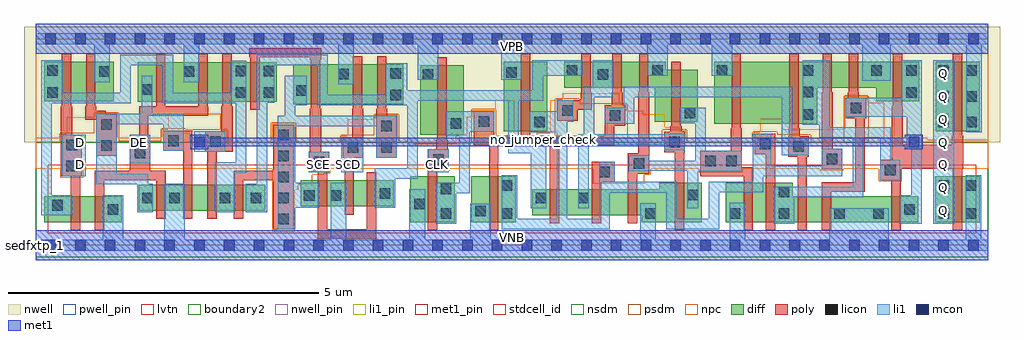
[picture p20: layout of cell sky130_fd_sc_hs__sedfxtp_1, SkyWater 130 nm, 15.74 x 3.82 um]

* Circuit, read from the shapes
.subckt sky130_fd_sc_hs__sedfxtp_1 CLK D DE Q SCD SCE VGND VNB VPB VPWR
XM1 n1 D n2 VNB sky130_fd_pr__nfet_01v8_lvt w=0.42 l=0.15
XM2 VGND DE n1 VNB sky130_fd_pr__nfet_01v8_lvt w=0.42 l=0.15
XM3 VGND DE n3 VNB sky130_fd_pr__nfet_01v8_lvt w=0.42 l=0.15
XM4 n4 n3 VGND VNB sky130_fd_pr__nfet_01v8_lvt w=0.42 l=0.15
XM5 n2 n5 n4 VNB sky130_fd_pr__nfet_01v8_lvt w=0.42 l=0.15
XM6 n6 n7 n2 VNB sky130_fd_pr__nfet_01v8_lvt w=0.42 l=0.15
XM7 VGND SCE n7 VNB sky130_fd_pr__nfet_01v8_lvt w=0.42 l=0.15
XM8 n8 SCD VGND VNB sky130_fd_pr__nfet_01v8_lvt w=0.42 l=0.15
XM9 n6 SCE n8 VNB sky130_fd_pr__nfet_01v8_lvt w=0.42 l=0.15
XM10 n9 CLK VGND VNB sky130_fd_pr__nfet_01v8_lvt w=0.74 l=0.15
XM11 n10 n9 VGND VNB sky130_fd_pr__nfet_01v8_lvt w=0.74 l=0.15
XM12 n11 n9 n6 VNB sky130_fd_pr__nfet_01v8_lvt w=0.42 l=0.15
XM13 n12 n10 n11 VNB sky130_fd_pr__nfet_01v8_lvt w=0.42 l=0.15
XM14 VGND n13 n12 VNB sky130_fd_pr__nfet_01v8_lvt w=0.42 l=0.15
XM15 n13 n11 VGND VNB sky130_fd_pr__nfet_01v8_lvt w=0.64 l=0.15
XM16 n14 n13 VGND VNB sky130_fd_pr__nfet_01v8_lvt w=0.64 l=0.15
XM17 n15 n10 n14 VNB sky130_fd_pr__nfet_01v8_lvt w=0.64 l=0.15
XM18 n16 n9 n15 VNB sky130_fd_pr__nfet_01v8_lvt w=0.42 l=0.15
XM19 VGND n5 n16 VNB sky130_fd_pr__nfet_01v8_lvt w=0.42 l=0.15
XM20 n5 n15 VGND VNB sky130_fd_pr__nfet_01v8_lvt w=0.42 l=0.15
XM21 VGND n15 Q VNB sky130_fd_pr__nfet_01v8_lvt w=0.74 l=0.15
XM22 n17 D n2 VPB sky130_fd_pr__pfet_01v8 w=0.64 l=0.15
XM23 VPWR n3 n17 VPB sky130_fd_pr__pfet_01v8 w=0.64 l=0.15
XM24 VPWR DE n3 VPB sky130_fd_pr__pfet_01v8 w=0.64 l=0.15
XM25 n18 DE VPWR VPB sky130_fd_pr__pfet_01v8 w=0.64 l=0.15
XM26 n2 n5 n18 VPB sky130_fd_pr__pfet_01v8 w=0.64 l=0.15
XM27 n6 SCE n2 VPB sky130_fd_pr__pfet_01v8 w=0.64 l=0.15
XM28 VPWR SCE n7 VPB sky130_fd_pr__pfet_01v8 w=0.64 l=0.15
XM29 n19 SCD VPWR VPB sky130_fd_pr__pfet_01v8 w=0.64 l=0.15
XM30 n6 n7 n19 VPB sky130_fd_pr__pfet_01v8 w=0.64 l=0.15
XM31 n9 CLK VPWR VPB sky130_fd_pr__pfet_01v8 w=1.12 l=0.15
XM32 n10 n9 VPWR VPB sky130_fd_pr__pfet_01v8 w=1.12 l=0.15
XM33 n11 n10 n6 VPB sky130_fd_pr__pfet_01v8 w=0.42 l=0.15
XM34 n20 n9 n11 VPB sky130_fd_pr__pfet_01v8 w=0.42 l=0.15
XM35 VPWR n13 n20 VPB sky130_fd_pr__pfet_01v8 w=0.42 l=0.15
XM36 n13 n11 VPWR VPB sky130_fd_pr__pfet_01v8 w=0.84 l=0.15
XM37 n21 n13 VPWR VPB sky130_fd_pr__pfet_01v8 w=1 l=0.15
XM38 n15 n9 n21 VPB sky130_fd_pr__pfet_01v8 w=1 l=0.15
XM39 n22 n10 n15 VPB sky130_fd_pr__pfet_01v8 w=0.42 l=0.15
XM40 VPWR n5 n22 VPB sky130_fd_pr__pfet_01v8 w=0.42 l=0.15
XM41 n5 n15 VPWR VPB sky130_fd_pr__pfet_01v8 w=0.64 l=0.15
XM42 VPWR n15 Q VPB sky130_fd_pr__pfet_01v8 w=1.12 l=0.15
.ends

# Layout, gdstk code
import gdstk
lib = gdstk.Library(unit=1e-6, precision=1e-09)
def R(c, l, rs):  # rectangles x0, y0, x1, y1
    for r in rs: c.add(gdstk.rectangle(r[:2], r[2:], *l))
def A(c, l, x, y, w, h, nx, ny, dx, dy):  # array of equal rectangles
    R(c, l, [(x+i*dx, y+j*dy, x+i*dx+w, y+j*dy+h) for i in range(nx) for j in range(ny)])
def P(c, l, *ps):  # polygons
    for p in ps: c.add(gdstk.Polygon(p, *l))
nwell_pin = (64, 16)
nwell = (64, 20)
diff = (65, 20)
poly = (66, 20)
licon = (66, 44)
li1_pin = (67, 16)
li1 = (67, 20)
mcon = (67, 44)
met1_pin = (68, 16)
met1 = (68, 20)
stdcell_id = (81, 4)
nsdm = (93, 44)
psdm = (94, 20)
npc = (95, 20)
pwell_pin = (122, 16)
lvtn = (125, 44)
boundary2 = (236, 0)

sky130_fd_sc_hs__sedfxtp = lib.new_cell('sky130_fd_sc_hs__sedfxtp_1')
R(sky130_fd_sc_hs__sedfxtp, nwell_pin, [(0,3.085,15.36,3.33)])
P(sky130_fd_sc_hs__sedfxtp, nwell, [(15.55,3.52),(-0.19,3.52),(-0.19,1.66),(6.02,1.66),(6.02,1.6),(7.08,1.6),(7.08,1.66),(15.55,1.66)])
R(sky130_fd_sc_hs__sedfxtp, diff, [(0.135,0.37,1.39,0.79), (6.04,0.37,6.755,1.11), (7.025,0.37,7.74,1.11), (14.505,0.37,15.225,1.11), (1.66,0.555,3.7,0.975), (4.27,0.625,5.77,1.045), (6.2,1.78,6.9,2.9), (7.55,1.84,8.25,2.96), (14.515,1.84,15.225,2.96), (4.155,2.275,5.93,2.915), (1.645,2.315,3.885,2.955), (0.135,2.32,1.255,2.96)])
P(sky130_fd_sc_hs__sedfxtp, diff, [(10.675,2.83),(10.16,2.83),(10.16,2.96),(8.52,2.96),(8.52,2.54),(9.985,2.54),(9.985,1.99),(10.675,1.99)],
  [(10.74,1.01),(10.055,1.01),(10.055,0.905),(8.01,0.905),(8.01,0.485),(9.775,0.485),(9.775,0.37),(10.74,0.37)],
  [(14.235,0.79),(12.21,0.79),(12.21,1.01),(11.13,1.01),(11.13,0.37),(14.235,0.37)],
  [(14.245,2.96),(10.945,2.96),(10.945,1.96),(12.6,1.96),(12.6,2.54),(13.555,2.54),(13.555,2.32),(14.245,2.32)])
P(sky130_fd_sc_hs__sedfxtp, poly, [(14.955,1.765),(14.94,1.765),(14.94,3.09),(14.79,3.09),(14.79,1.765),(14.775,1.765),(14.775,1.62),(13.985,1.62),(13.985,2.245),(13.97,2.245),(13.97,3.09),(13.82,3.09),(13.82,2.245),(13.805,2.245),(13.805,1.38),(13.615,1.38),(13.615,1.05),(13.8,1.05),(13.8,0.24),(13.95,0.24),(13.95,1.05),(13.955,1.05),(13.955,1.23),(14.79,1.23),(14.79,0.24),(14.94,0.24),(14.94,1.23),(14.955,1.23)],
  [(13.395,2.38),(13.275,2.38),(13.275,2.465),(13.26,2.465),(13.26,3.09),(13.11,3.09),(13.11,2.465),(13.095,2.465),(13.095,2.38),(13.065,2.38),(13.065,2.05),(13.215,2.05),(13.215,1.015),(12.675,1.015),(12.675,0.24),(12.825,0.24),(12.825,0.865),(13.365,0.865),(13.365,2.05),(13.395,2.05)],
  [(13.005,1.555),(12.855,1.555),(12.855,2.465),(12.84,2.465),(12.84,3.09),(12.69,3.09),(12.69,2.465),(12.675,2.465),(12.675,1.225),(13.005,1.225)],
  [(12.465,1.755),(12.32,1.755),(12.32,1.885),(12.305,1.885),(12.305,3.09),(12.155,3.09),(12.155,1.885),(12.14,1.885),(12.14,1.755),(12.135,1.755),(12.135,1.425),(12.285,1.425),(12.285,0.24),(12.435,0.24),(12.435,1.425),(12.465,1.425)],
  [(11.925,1.8),(11.595,1.8),(11.595,1.47),(11.775,1.47),(11.775,0.24),(11.925,0.24)],
  [(11.565,1.26),(11.385,1.26),(11.385,1.885),(11.37,1.885),(11.37,3.09),(11.22,3.09),(11.22,1.885),(11.205,1.885),(11.205,1.525),(10.715,1.525),(10.715,1.11),(11.415,1.11),(11.415,0.24),(11.565,0.24)],
  [(10.465,1.83),(10.415,1.83),(10.415,1.915),(10.4,1.915),(10.4,2.96),(10.25,2.96),(10.25,1.915),(10.235,1.915),(10.235,1.83),(10.135,1.83),(10.135,1.5),(10.305,1.5),(10.305,0.24),(10.455,0.24),(10.455,1.5),(10.465,1.5)],
  [(9.895,2.465),(9.88,2.465),(9.88,3.09),(9.73,3.09),(9.73,2.465),(9.715,2.465),(9.715,1.485),(9.55,1.485),(9.55,0.355),(9.7,0.355),(9.7,1.155),(9.895,1.155)],
  [(9.505,2.255),(9.465,2.255),(9.465,2.465),(9.45,2.465),(9.45,3.09),(9.3,3.09),(9.3,2.465),(9.285,2.465),(9.285,2.255),(9.175,2.255),(9.175,1.765),(7.975,1.765),(7.975,3.09),(7.825,3.09),(7.825,1.765),(7.39,1.765),(7.39,2.16),(7.06,2.16),(7.06,1.615),(7.31,1.615),(7.31,0.24),(7.46,0.24),(7.46,1.615),(8.29,1.615),(8.29,0.355),(8.44,0.355),(8.44,1.615),(9.325,1.615),(9.325,1.925),(9.505,1.925)],
  [(9.34,1.345),(8.97,1.345),(8.97,0.355),(9.12,0.355),(9.12,1.015),(9.34,1.015)],
  [(8.965,2.465),(8.95,2.465),(8.95,3.09),(8.8,3.09),(8.8,2.465),(8.785,2.465),(8.785,2.335),(8.41,2.335),(8.41,2.005),(8.74,2.005),(8.74,2.185),(8.965,2.185)],
  [(6.66,1.55),(6.64,1.55),(6.64,1.705),(6.625,1.705),(6.625,3.03),(6.475,3.03),(6.475,1.705),(6.46,1.705),(6.46,1.55),(6.325,1.55),(6.325,0.24),(6.475,0.24),(6.475,1.22),(6.66,1.22)],
  [(5.82,2.085),(5.67,2.085),(5.67,2.2),(5.655,2.2),(5.655,3.045),(5.505,3.045),(5.505,2.2),(5.49,2.2),(5.49,1.415),(5.82,1.415)],
  [(5.49,1.175),(5.34,1.175),(5.34,0.255),(4.7,0.255),(4.7,1.18),(4.73,1.18),(4.73,1.51),(4.6,1.51),(4.6,2.2),(4.585,2.2),(4.585,2.99),(4.6,2.99),(4.6,3.18),(3.445,3.18),(3.445,3.03),(3.46,3.03),(3.46,2.185),(3.61,2.185),(3.61,3.03),(4.42,3.03),(4.42,2.99),(4.435,2.99),(4.435,2.2),(4.42,2.2),(4.42,1.51),(4.4,1.51),(4.4,1.18),(4.55,1.18),(4.55,0.105),(5.49,0.105)],
  [(5.28,2.2),(5.265,2.2),(5.265,3.045),(5.115,3.045),(5.115,2.2),(5.1,2.2),(5.1,1.745),(4.95,1.745),(4.95,1.415),(4.98,1.415),(4.98,0.495),(5.13,0.495),(5.13,1.415),(5.28,1.415)],
  [(4.16,1.945),(3.83,1.945),(3.83,1.2),(3.195,1.2),(3.195,0.425),(3.345,0.425),(3.345,1.05),(3.83,1.05),(3.83,0.255),(4.16,0.255)],
  [(3.175,2.24),(3.16,2.24),(3.16,3.085),(3.01,3.085),(3.01,2.24),(2.995,2.24),(2.995,1.835),(2.735,1.835),(2.735,1.505),(2.765,1.505),(2.765,0.425),(2.915,0.425),(2.915,1.505),(3.175,1.505)],
  [(2.785,2.24),(2.77,2.24),(2.77,3.085),(2.62,3.085),(2.62,2.24),(2.09,2.24),(2.09,3.085),(1.94,3.085),(1.94,2.24),(1.665,2.24),(1.665,1.65),(1.515,1.65),(1.515,1.2),(0.955,1.2),(0.955,0.24),(1.105,0.24),(1.105,1.05),(1.945,1.05),(1.945,0.425),(2.095,0.425),(2.095,1.2),(1.845,1.2),(1.845,1.65),(1.815,1.65),(1.815,2.09),(2.785,2.09)],
  [(2.525,1.85),(2.055,1.85),(2.055,1.52),(2.375,1.52),(2.375,0.425),(2.525,0.425)],
  [(1.305,2.11),(1.125,2.11),(1.125,2.17),(0.975,2.17),(0.975,2.245),(0.96,2.245),(0.96,3.09),(0.81,3.09),(0.81,2.245),(0.795,2.245),(0.795,2.02),(0.975,2.02),(0.975,1.44),(1.305,1.44)],
  [(0.745,1.78),(0.585,1.78),(0.585,2.245),(0.57,2.245),(0.57,3.09),(0.42,3.09),(0.42,2.245),(0.405,2.245),(0.405,1.11),(0.565,1.11),(0.565,0.24),(0.715,0.24),(0.715,1.11),(0.745,1.11)])
A(sky130_fd_sc_hs__sedfxtp, licon, 3.91, 0.335, 0.17, 0.17, 1, 5, 0, 0.34)
A(sky130_fd_sc_hs__sedfxtp, licon, 14.555, 1.9, 0.17, 0.17, 1, 3, 0, 0.415)
A(sky130_fd_sc_hs__sedfxtp, licon, 15.005, 1.9, 0.17, 0.17, 1, 3, 0, 0.415)
R(sky130_fd_sc_hs__sedfxtp, licon, [(6.53,0.43,6.7,0.6), (7.515,0.43,7.685,0.6), (9.83,0.43,10,0.6), (11.19,0.43,11.36,0.6), (11.98,0.43,12.15,0.6), (12.88,0.43,13.05,0.6), (13.505,0.43,13.675,0.6), (14.565,0.43,14.735,0.6), (14.995,0.43,15.165,0.6), (7.085,0.465,7.255,0.635), (1.16,0.495,1.33,0.665), (14.005,0.495,14.175,0.665), (0.265,0.56,0.435,0.73), (6.1,0.58,6.27,0.75), (8.065,0.675,8.235,0.845), (8.745,0.675,8.915,0.845), (1.72,0.68,1.89,0.85), (2.15,0.68,2.32,0.85), (2.97,0.68,3.14,0.85), (3.47,0.68,3.64,0.85), (4.325,0.72,4.495,0.89), (4.755,0.72,4.925,0.89), (10.51,0.725,10.68,0.895), (5.545,0.75,5.715,0.92), (11.98,0.77,12.15,0.94), (6.53,0.825,6.7,0.995), (7.515,0.88,7.685,1.05), (14.565,0.88,14.735,1.05), (14.995,0.88,15.165,1.05), (9.09,1.095,9.26,1.265), (13.695,1.13,13.865,1.3), (0.495,1.19,0.665,1.36), (9.645,1.235,9.815,1.405), (4.48,1.26,4.65,1.43), (10.795,1.275,10.965,1.445), (11.135,1.275,11.305,1.445), (6.41,1.3,6.58,1.47), (12.755,1.305,12.925,1.475), (1.595,1.4,1.765,1.57), (5.03,1.495,5.2,1.665), (5.57,1.495,5.74,1.665), (12.215,1.505,12.385,1.675), (1.055,1.52,1.225,1.69), (0.495,1.53,0.665,1.7), (11.675,1.55,11.845,1.72), (10.215,1.58,10.385,1.75), (2.815,1.585,2.985,1.755), (2.135,1.6,2.305,1.77), (5.57,1.835,5.74,2.005), (1.055,1.86,1.225,2.03), (6.69,1.875,6.86,2.045), (8.04,1.905,8.21,2.075), (7.14,1.91,7.31,2.08), (9.255,2.005,9.425,2.175), (12.37,2.02,12.54,2.19), (10.465,2.05,10.635,2.22), (8.49,2.085,8.66,2.255), (13.145,2.13,13.315,2.3), (5.72,2.335,5.89,2.505), (3.225,2.375,3.395,2.545), (3.675,2.375,3.845,2.545), (0.185,2.38,0.355,2.55), (14.035,2.38,14.205,2.55), (12.37,2.39,12.54,2.56), (4.2,2.41,4.37,2.58), (1.705,2.43,1.875,2.6), (9.065,2.665,9.235,2.835), (6.24,2.67,6.41,2.84), (4.88,2.68,5.05,2.85), (5.72,2.685,5.89,2.855), (7.59,2.7,7.76,2.87), (2.385,2.715,2.555,2.885), (1.025,2.72,1.195,2.89), (3.225,2.725,3.395,2.895), (3.675,2.725,3.845,2.895), (0.185,2.73,0.355,2.9), (8.565,2.73,8.735,2.9), (9.945,2.73,10.115,2.9), (10.985,2.73,11.155,2.9), (12.37,2.73,12.54,2.9), (13.47,2.73,13.64,2.9), (14.035,2.73,14.205,2.9)])
A(sky130_fd_sc_hs__sedfxtp, li1_pin, 14.555, 0.47, 0.17, 0.17, 1, 7, 0, 0.37)
R(sky130_fd_sc_hs__sedfxtp, li1_pin, [(0.635,1.21,0.805,1.38), (4.475,1.21,4.645,1.38), (4.955,1.21,5.125,1.38), (6.395,1.21,6.565,1.38), (0.635,1.58,0.805,1.75), (1.595,1.58,1.765,1.75)])
R(sky130_fd_sc_hs__sedfxtp, li1, [(14.475,0.35,14.815,2.98), (0.425,1.11,0.805,1.78), (4.4,1.18,4.73,1.51), (4.925,1.18,5.28,1.745), (6.33,1.18,6.66,1.55), (1.515,1.32,1.845,1.78), (2.555,1.505,3.055,1.835)])
P(sky130_fd_sc_hs__sedfxtp, li1, [(0,3.245),(0,3.415),(15.36,3.415),(15.36,3.245),(15.255,3.245),(15.255,1.82),(15.005,1.82),(15.005,3.245),(13.785,3.245),(13.785,2.65),(13.33,2.65),(13.33,3.245),(11.235,3.245),(11.235,2.73),(10.905,2.73),(10.905,3.245),(10.195,3.245),(10.195,2.73),(9.865,2.73),(9.865,3.245),(7.84,3.245),(7.84,2.67),(7.51,2.67),(7.51,3.245),(6.49,3.245),(6.49,2.67),(6.16,2.67),(6.16,3.245),(5.13,3.245),(5.13,2.595),(4.88,2.595),(4.88,3.245),(2.635,3.245),(2.635,2.63),(2.385,2.63),(2.385,3.245),(1.195,3.245),(1.195,2.63),(0.945,2.63),(0.945,3.245)],
  [(0,-0.085),(0,0.085),(1.08,0.085),(1.08,0.81),(1.41,0.81),(1.41,0.085),(2.07,0.085),(2.07,0.995),(2.4,0.995),(2.4,0.085),(4.755,0.085),(4.755,1.01),(5.005,1.01),(5.005,0.085),(6.02,0.085),(6.02,0.905),(6.28,0.905),(6.28,0.085),(7.005,0.085),(7.005,0.67),(7.335,0.67),(7.335,0.085),(9.75,0.085),(9.75,0.68),(10,0.68),(10,0.085),(11.19,0.085),(11.19,0.685),(11.44,0.685),(11.44,0.085),(12.8,0.085),(12.8,0.6),(13.755,0.6),(13.755,0.085),(14.995,0.085),(14.995,1.13),(15.245,1.13),(15.245,0.085),(15.36,0.085),(15.36,-0.085)],
  [(13.925,0.35),(13.925,0.81),(14.115,0.81),(14.115,1.55),(14.045,1.55),(14.045,2.075),(13.065,2.075),(13.065,2.38),(13.955,2.38),(13.955,2.98),(14.285,2.98),(14.285,0.35)],
  [(7.765,0.425),(8.405,0.425),(8.405,1.82),(7.96,1.82),(7.96,2.16),(8.405,2.16),(8.405,2.335),(8.665,2.335),(8.665,1.99),(8.575,1.99),(8.575,0.425),(9.085,0.425),(9.085,1.345),(9.34,1.345),(9.34,1.02),(10.34,1.02),(10.34,0.425),(10.85,0.425),(10.85,1.025),(11.56,1.025),(11.56,1.8),(11.86,1.8),(11.86,1.28),(12.675,1.28),(12.675,1.555),(13.005,1.555),(13.005,1.11),(11.73,1.11),(11.73,0.855),(11.02,0.855),(11.02,0.255),(10.17,0.255),(10.17,0.85),(9.255,0.85),(9.255,0.255),(7.515,0.255),(7.515,1.13),(7.765,1.13)],
  [(7.62,1.48),(7.62,2.33),(6.16,2.33),(6.16,1.075),(5.795,1.075),(5.795,0.605),(5.465,0.605),(5.465,1.245),(5.99,1.245),(5.99,2.255),(4.54,2.255),(4.54,2.905),(3.845,2.905),(3.845,2.295),(3.735,2.295),(3.735,0.535),(3.39,0.535),(3.39,0.995),(3.565,0.995),(3.565,3.075),(4.71,3.075),(4.71,2.425),(5.64,2.425),(5.64,2.935),(5.99,2.935),(5.99,2.5),(8.01,2.5),(8.01,2.98),(8.815,2.98),(8.815,2.73),(8.18,2.73),(8.18,2.33),(7.79,2.33),(7.79,1.65),(8.235,1.65),(8.235,0.595),(7.985,0.595),(7.985,1.48)],
  [(0.085,2.98),(0.435,2.98),(0.435,2.46),(1.365,2.46),(1.365,3.075),(2.215,3.075),(2.215,2.46),(3.145,2.46),(3.145,2.975),(3.395,2.975),(3.395,1.165),(3.22,1.165),(3.22,0.535),(2.89,0.535),(2.89,1.335),(3.225,1.335),(3.225,2.29),(2.045,2.29),(2.045,2.905),(1.535,2.905),(1.535,2.29),(0.255,2.29),(0.255,0.81),(0.59,0.81),(0.59,0.48),(0.085,0.48)],
  [(9.895,1.365),(10.635,1.365),(10.635,1.97),(10.385,1.97),(10.385,2.22),(10.805,2.22),(10.805,1.525),(11.385,1.525),(11.385,1.195),(10.68,1.195),(10.68,0.595),(10.51,0.595),(10.51,1.195),(9.895,1.195),(9.895,1.19),(9.565,1.19),(9.565,1.45),(9.895,1.45)],
  [(6.83,1.01),(6.83,1.76),(6.61,1.76),(6.61,2.16),(7.39,2.16),(7.39,1.83),(7,1.83),(7,0.84),(6.78,0.84),(6.78,0.35),(6.45,0.35),(6.45,1.01)],
  [(13.175,0.94),(13.175,1.735),(12.635,1.735),(12.635,1.94),(12.37,1.94),(12.37,2.98),(12.805,2.98),(12.805,1.905),(13.785,1.905),(13.785,1.38),(13.945,1.38),(13.945,1.05),(13.615,1.05),(13.615,1.735),(13.345,1.735),(13.345,0.77),(12.23,0.77),(12.23,0.35),(11.9,0.35),(11.9,0.94)],
  [(4.185,1.01),(4.575,1.01),(4.575,0.605),(4.185,0.605),(4.185,0.255),(3.905,0.255),(3.905,2.085),(4.015,2.085),(4.015,2.735),(4.37,2.735),(4.37,2.255),(4.185,2.255),(4.185,2.085),(5.82,2.085),(5.82,1.415),(5.49,1.415),(5.49,1.915),(4.185,1.915)],
  [(9.485,2.56),(12.2,2.56),(12.2,1.735),(12.465,1.735),(12.465,1.45),(12.03,1.45),(12.03,2.39),(9.655,2.39),(9.655,1.96),(9.175,1.96),(9.175,2.22),(9.485,2.22)],
  [(2.055,1.95),(1.305,1.95),(1.305,1.15),(1.81,1.15),(1.81,0.995),(1.89,0.995),(1.89,0.535),(1.64,0.535),(1.64,0.98),(0.975,0.98),(0.975,2.12),(1.705,2.12),(1.705,2.735),(1.875,2.735),(1.875,2.12),(2.385,2.12),(2.385,1.52),(2.055,1.52)],
  [(8.745,1.79),(8.835,1.79),(8.835,2.56),(8.985,2.56),(8.985,2.98),(9.315,2.98),(9.315,2.39),(9.005,2.39),(9.005,1.79),(10.135,1.79),(10.135,1.795),(10.465,1.795),(10.465,1.535),(10.135,1.535),(10.135,1.62),(8.915,1.62),(8.915,0.595),(8.745,0.595)])
A(sky130_fd_sc_hs__sedfxtp, mcon, 0.155, -0.085, 0.17, 0.17, 32, 2, 0.48, 3.33)
R(sky130_fd_sc_hs__sedfxtp, mcon, [(2.555,1.58,2.725,1.75), (14.075,1.58,14.245,1.75)])
R(sky130_fd_sc_hs__sedfxtp, met1_pin, [(0,0,15.36,0.245), (0,3.085,15.36,3.33)])
R(sky130_fd_sc_hs__sedfxtp, met1, [(0,-0.245,15.36,0.245), (0,3.085,15.36,3.575)])
P(sky130_fd_sc_hs__sedfxtp, met1, [(2.785,1.735),(14.015,1.735),(14.015,1.78),(14.305,1.78),(14.305,1.55),(14.015,1.55),(14.015,1.595),(2.785,1.595),(2.785,1.55),(2.495,1.55),(2.495,1.78),(2.785,1.78)])
R(sky130_fd_sc_hs__sedfxtp, stdcell_id, [(0,0,15.36,3.33)])
P(sky130_fd_sc_hs__sedfxtp, nsdm, [(15.36,1.66),(7.03,1.66),(7.03,1.65),(6.07,1.65),(6.07,1.66),(0,1.66),(0,-0.19),(15.36,-0.19)])
P(sky130_fd_sc_hs__sedfxtp, psdm, [(15.36,3.52),(0,3.52),(0,1.66),(0.385,1.66),(0.385,1.81),(0.945,1.81),(0.945,2.14),(1.335,2.14),(1.335,1.68),(2.025,1.68),(2.025,1.88),(2.415,1.88),(2.415,1.865),(3.095,1.865),(3.095,1.66),(3.8,1.66),(3.8,1.975),(4.19,1.975),(4.19,1.66),(4.92,1.66),(4.92,1.775),(5.46,1.775),(5.46,2.115),(5.85,2.115),(5.85,1.66),(6.07,1.66),(6.07,1.65),(7.03,1.65),(7.03,2.19),(7.42,2.19),(7.42,1.66),(8.38,1.66),(8.38,2.365),(8.77,2.365),(8.77,2.285),(9.535,2.285),(9.535,1.66),(10.105,1.66),(10.105,1.86),(10.495,1.86),(10.495,1.66),(11.565,1.66),(11.565,1.83),(11.955,1.83),(11.955,1.785),(12.495,1.785),(12.495,1.66),(13.035,1.66),(13.035,2.41),(13.425,2.41),(13.425,1.66),(15.36,1.66)])
P(sky130_fd_sc_hs__sedfxtp, npc, [(15.36,1.7),(14.375,1.7),(14.375,1.73),(13.68,1.73),(13.68,2.295),(13.415,2.295),(13.415,2.4),(13.045,2.4),(13.045,1.87),(12.05,1.87),(12.05,2.04),(11.68,2.04),(11.68,1.82),(11.575,1.82),(11.575,1.73),(10.485,1.73),(10.485,1.85),(10.38,1.85),(10.38,1.9),(10.145,1.9),(10.145,2.115),(9.79,2.115),(9.79,2.17),(9.525,2.17),(9.525,2.275),(9.42,2.275),(9.42,2.45),(8.495,2.45),(8.495,2.355),(8.39,2.355),(8.39,2.34),(8.3,2.34),(8.3,1.815),(8.08,1.815),(8.08,1.75),(7.72,1.75),(7.72,2.34),(7.41,2.34),(7.41,2.18),(7.04,2.18),(7.04,2.075),(6.95,2.075),(6.95,1.785),(6.775,1.785),(6.775,1.64),(6.06,1.64),(6.06,1.73),(5.84,1.73),(5.84,2.105),(5.47,2.105),(5.47,2.03),(5.035,2.03),(5.035,1.765),(4.93,1.765),(4.93,1.73),(4.18,1.73),(4.18,1.965),(3.81,1.965),(3.81,1.73),(3.085,1.73),(3.085,1.855),(2.98,1.855),(2.98,2.12),(2.14,2.12),(2.14,1.87),(2.035,1.87),(2.035,1.73),(1.325,1.73),(1.325,2.13),(0.955,2.13),(0.955,2.065),(0.5,2.065),(0.5,1.8),(0.395,1.8),(0.395,1.73),(0,1.73),(0,1.23),(0.395,1.23),(0.395,1.09),(0.765,1.09),(0.765,1.23),(3.81,1.23),(3.81,0.225),(4.18,0.225),(4.18,0.895),(4.235,0.895),(4.235,0.98),(4.46,0.98),(4.46,1.135),(4.645,1.135),(4.645,1.16),(4.75,1.16),(4.75,1.23),(6.31,1.23),(6.31,1.2),(6.68,1.2),(6.68,1.23),(8.99,1.23),(8.99,0.995),(9.81,0.995),(9.81,1.135),(9.915,1.135),(9.915,1.23),(10.695,1.23),(10.695,1.175),(11.405,1.175),(11.405,1.23),(12.655,1.23),(12.655,1.205),(13.025,1.205),(13.025,1.23),(13.595,1.23),(13.595,1.03),(13.965,1.03),(13.965,1.23),(15.36,1.23)])
R(sky130_fd_sc_hs__sedfxtp, pwell_pin, [(0,0,15.36,0.245)])
R(sky130_fd_sc_hs__sedfxtp, lvtn, [(0.19,0.19,15.17,1.3)])
R(sky130_fd_sc_hs__sedfxtp, boundary2, [(0,0,15.36,3.33)])
sky130_fd_sc_hs__sedfxtp.add(gdstk.Label('sedfxtp_1', (0,0), layer=83, texttype=44))
sky130_fd_sc_hs__sedfxtp.add(gdstk.Label('no_jumper_check', (8.18,1.7), layer=83, texttype=44))
sky130_fd_sc_hs__sedfxtp.add(gdstk.Label('VNB', (7.68,0.123), layer=64, texttype=59))
sky130_fd_sc_hs__sedfxtp.add(gdstk.Label('VPB', (7.68,3.208), layer=64, texttype=5))
sky130_fd_sc_hs__sedfxtp.add(gdstk.Label('VPWR', (7.68,3.208), layer=68, texttype=5))
sky130_fd_sc_hs__sedfxtp.add(gdstk.Label('VGND', (7.68,0.123), layer=68, texttype=5))
sky130_fd_sc_hs__sedfxtp.add(gdstk.Label('CLK', (6.48,1.295), layer=67, texttype=5))
sky130_fd_sc_hs__sedfxtp.add(gdstk.Label('Q', (14.64,0.555), layer=67, texttype=5))
sky130_fd_sc_hs__sedfxtp.add(gdstk.Label('Q', (14.64,0.925), layer=67, texttype=5))
sky130_fd_sc_hs__sedfxtp.add(gdstk.Label('Q', (14.64,1.295), layer=67, texttype=5))
sky130_fd_sc_hs__sedfxtp.add(gdstk.Label('Q', (14.64,1.665), layer=67, texttype=5))
sky130_fd_sc_hs__sedfxtp.add(gdstk.Label('Q', (14.64,2.035), layer=67, texttype=5))
sky130_fd_sc_hs__sedfxtp.add(gdstk.Label('Q', (14.64,2.405), layer=67, texttype=5))
sky130_fd_sc_hs__sedfxtp.add(gdstk.Label('Q', (14.64,2.775), layer=67, texttype=5))
sky130_fd_sc_hs__sedfxtp.add(gdstk.Label('SCD', (5.04,1.295), layer=67, texttype=5))
sky130_fd_sc_hs__sedfxtp.add(gdstk.Label('SCE', (4.56,1.295), layer=67, texttype=5))
sky130_fd_sc_hs__sedfxtp.add(gdstk.Label('DE', (1.68,1.665), layer=67, texttype=5))
sky130_fd_sc_hs__sedfxtp.add(gdstk.Label('D', (0.72,1.295), layer=67, texttype=5))
sky130_fd_sc_hs__sedfxtp.add(gdstk.Label('D', (0.72,1.665), layer=67, texttype=5))

lib.write_gds('sky130_fd_sc_hs__sedfxtp_1.gds')
